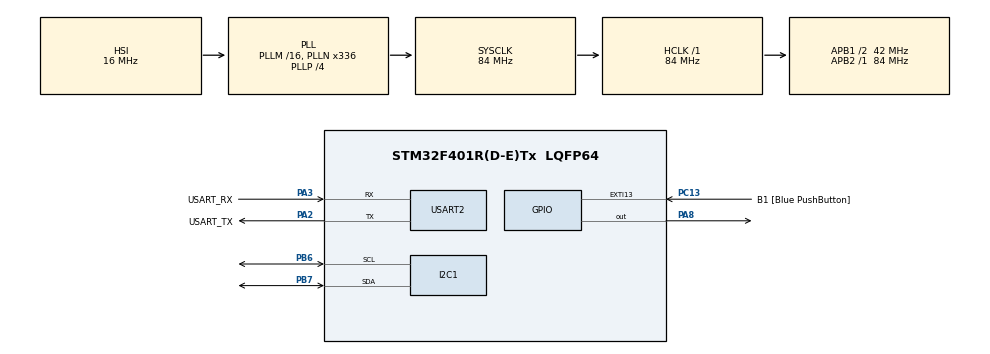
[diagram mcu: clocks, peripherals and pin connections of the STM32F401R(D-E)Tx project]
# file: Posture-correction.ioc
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Mcu.Family=STM32F4
Mcu.Name=STM32F401R(D-E)Tx
Mcu.Package=LQFP64
NVIC.PriorityGroup=NVIC_PRIORITYGROUP_0
PA13.GPIO_Label=TMS
PA13.Mode=Serial_Wire
PA13.Signal=SYS_JTMS-SWDIO
PA14.GPIO_Label=TCK
PA14.Mode=Serial_Wire
PA14.Signal=SYS_JTCK-SWCLK
PA2.GPIO_Label=USART_TX
PA2.GPIO_Mode=GPIO_MODE_AF_PP
PA2.GPIO_PuPd=GPIO_NOPULL
PA2.GPIO_Speed=GPIO_SPEED_FREQ_LOW
PA2.Mode=Asynchronous
PA2.Signal=USART2_TX
PA3.GPIO_Label=USART_RX
PA3.GPIO_Mode=GPIO_MODE_AF_PP
PA3.GPIO_PuPd=GPIO_NOPULL
PA3.GPIO_Speed=GPIO_SPEED_FREQ_LOW
PA3.Mode=Asynchronous
PA3.Signal=USART2_RX
PA8.Signal=GPIO_Output
PB3.GPIO_Label=SWO
PB3.Signal=SYS_JTDO-SWO
PB6.Mode=I2C
PB6.Signal=I2C1_SCL
PB7.Mode=I2C
PB7.Signal=I2C1_SDA
PC13-ANTI_TAMP.GPIO_Label=B1 [Blue PushButton]
PC13-ANTI_TAMP.GPIO_ModeDefaultEXTI=GPIO_MODE_IT_FALLING
PC13-ANTI_TAMP.GPIO_PuPd=GPIO_NOPULL
PC13-ANTI_TAMP.Signal=GPXTI13
PC14-OSC32_IN.Mode=LSE-External-Oscillator
PC14-OSC32_IN.Signal=RCC_OSC32_IN
PC15-OSC32_OUT.Mode=LSE-External-Oscillator
PC15-OSC32_OUT.Signal=RCC_OSC32_OUT
PH0\ -\ OSC_IN.Mode=HSE-External-Clock-Source
PH0\ -\ OSC_IN.Signal=RCC_OSC_IN
PH1\ -\ OSC_OUT.Mode=HSE-External-Clock-Source
PH1\ -\ OSC_OUT.Signal=RCC_OSC_OUT
ProjectManager.HeapSize=0x200
ProjectManager.StackSize=0x400
ProjectManager.TargetToolchain=STM32CubeIDE
RCC.48MHZClocksFreq_Value=48000000
RCC.AHBFreq_Value=84000000
RCC.APB1CLKDivider=RCC_HCLK_DIV2
RCC.APB1Freq_Value=42000000
RCC.APB1TimFreq_Value=84000000
RCC.APB2Freq_Value=84000000
RCC.APB2TimFreq_Value=84000000
RCC.CortexFreq_Value=84000000
RCC.HCLKFreq_Value=84000000
RCC.HSE_VALUE=8000000
RCC.HSI_VALUE=16000000
RCC.PLLN=336
RCC.PLLP=RCC_PLLP_DIV4
RCC.PLLQ=7
RCC.SYSCLKFreq_VALUE=84000000
RCC.SYSCLKSource=RCC_SYSCLKSOURCE_PLLCLK
RCC.VCOOutputFreq_Value=336000000
USART2.VirtualMode=VM_ASYNC
board=NUCLEO-F401RE

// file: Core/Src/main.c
/* USER CODE BEGIN Header */
/**
  ******************************************************************************
  * @file           : main.c
  * @brief          : Main program body
  ******************************************************************************
  * @attention
  *
  * Copyright (c) 2024 STMicroelectronics.
  * All rights reserved.
  *
  * This software is licensed under terms that can be found in the LICENSE file
  * in the root directory of this software component.
  * If no LICENSE file comes with this software, it is provided AS-IS.
  *
  ******************************************************************************
  */
/* USER CODE END Header */
#include "main.h"
#include "MPU6050.h"
#include "stm32f4xx_hal.h"

I2C_HandleTypeDef hi2c1;

UART_HandleTypeDef huart2;

void SystemClock_Config(void);
static void MX_GPIO_Init(void);
static void MX_USART2_UART_Init(void);
static void MX_I2C1_Init(void);

int main(void)
{

  /* MCU Configuration--------------------------------------------------------*/

  /* Reset of all peripherals, Initializes the Flash interface and the Systick. */
  HAL_Init();

  /* Configure the system clock */
  SystemClock_Config();

  /* Initialize all configured peripherals */
  MX_GPIO_Init();
  MX_USART2_UART_Init();
  MX_I2C1_Init();
  /* USER CODE BEGIN 2 */

  MPU6050_init();

      // Initialize the GPIO pin
      __HAL_RCC_GPIOA_CLK_ENABLE(); // Enable GPIOA clock (example for PA pin)

      GPIO_InitTypeDef GPIO_InitStruct = {0};
      GPIO_InitStruct.Pin = GPIO_PIN_8; // Example: PA5
      GPIO_InitStruct.Mode = GPIO_MODE_OUTPUT_PP; // Push-pull output
      GPIO_InitStruct.Pull = GPIO_NOPULL; // No pull-up or pull-down
      GPIO_InitStruct.Speed = GPIO_SPEED_FREQ_LOW; // Speed setting
      HAL_GPIO_Init(GPIOA, &GPIO_InitStruct);

      int counter = 0;
  /* USER CODE END 2 */

  /* Infinite loop */
  while (1)
  {

    /* USER CODE BEGIN 3 */

	  float read_Val = MPU6050_read();

	      if (read_Val > 20.0)
	      {
	          counter++;
	          if (counter >= 50)
	          {
	              HAL_GPIO_WritePin(GPIOA, GPIO_PIN_8, GPIO_PIN_SET); // Set HIGH
	          }
	      }
	      else
	      {
	          counter = 0; // Reset the counter if condition is not met
	          HAL_GPIO_WritePin(GPIOA, GPIO_PIN_8, GPIO_PIN_RESET); // Set LOW
	      }

	      HAL_Delay(100); // Check every second
	      printf("\nCounter: %d \n", counter);
  }
  /* USER CODE END 3 */
}

void SystemClock_Config(void)
{
  RCC_OscInitTypeDef RCC_OscInitStruct = {0};
  RCC_ClkInitTypeDef RCC_ClkInitStruct = {0};

  /** Configure the main internal regulator output voltage
  */
  __HAL_RCC_PWR_CLK_ENABLE();
  __HAL_PWR_VOLTAGESCALING_CONFIG(PWR_REGULATOR_VOLTAGE_SCALE2);

  /** Initializes the RCC Oscillators according to the specified parameters
  * in the RCC_OscInitTypeDef structure.
  */
  RCC_OscInitStruct.OscillatorType = RCC_OSCILLATORTYPE_HSI;
  RCC_OscInitStruct.HSIState = RCC_HSI_ON;
  RCC_OscInitStruct.HSICalibrationValue = RCC_HSICALIBRATION_DEFAULT;
  RCC_OscInitStruct.PLL.PLLState = RCC_PLL_ON;
  RCC_OscInitStruct.PLL.PLLSource = RCC_PLLSOURCE_HSI;
  RCC_OscInitStruct.PLL.PLLM = 16;
  RCC_OscInitStruct.PLL.PLLN = 336;
  RCC_OscInitStruct.PLL.PLLP = RCC_PLLP_DIV4;
  RCC_OscInitStruct.PLL.PLLQ = 7;
  if (HAL_RCC_OscConfig(&RCC_OscInitStruct) != HAL_OK)
  {
    Error_Handler();
  }

  /** Initializes the CPU, AHB and APB buses clocks
  */
  RCC_ClkInitStruct.ClockType = RCC_CLOCKTYPE_HCLK|RCC_CLOCKTYPE_SYSCLK
                              |RCC_CLOCKTYPE_PCLK1|RCC_CLOCKTYPE_PCLK2;
  RCC_ClkInitStruct.SYSCLKSource = RCC_SYSCLKSOURCE_PLLCLK;
  RCC_ClkInitStruct.AHBCLKDivider = RCC_SYSCLK_DIV1;
  RCC_ClkInitStruct.APB1CLKDivider = RCC_HCLK_DIV2;
  RCC_ClkInitStruct.APB2CLKDivider = RCC_HCLK_DIV1;

  if (HAL_RCC_ClockConfig(&RCC_ClkInitStruct, FLASH_LATENCY_2) != HAL_OK)
  {
    Error_Handler();
  }
}

static void MX_I2C1_Init(void)
{

  hi2c1.Instance = I2C1;
  hi2c1.Init.ClockSpeed = 100000;
  hi2c1.Init.DutyCycle = I2C_DUTYCYCLE_2;
  hi2c1.Init.OwnAddress1 = 0;
  hi2c1.Init.AddressingMode = I2C_ADDRESSINGMODE_7BIT;
  hi2c1.Init.DualAddressMode = I2C_DUALADDRESS_DISABLE;
  hi2c1.Init.OwnAddress2 = 0;
  hi2c1.Init.GeneralCallMode = I2C_GENERALCALL_DISABLE;
  hi2c1.Init.NoStretchMode = I2C_NOSTRETCH_DISABLE;
  if (HAL_I2C_Init(&hi2c1) != HAL_OK)
  {
    Error_Handler();
  }

}

static void MX_USART2_UART_Init(void)
{

  huart2.Instance = USART2;
  huart2.Init.BaudRate = 115200;
  huart2.Init.WordLength = UART_WORDLENGTH_8B;
  huart2.Init.StopBits = UART_STOPBITS_1;
  huart2.Init.Parity = UART_PARITY_NONE;
  huart2.Init.Mode = UART_MODE_TX_RX;
  huart2.Init.HwFlowCtl = UART_HWCONTROL_NONE;
  huart2.Init.OverSampling = UART_OVERSAMPLING_16;
  if (HAL_UART_Init(&huart2) != HAL_OK)
  {
    Error_Handler();
  }

}

static void MX_GPIO_Init(void)
{
  GPIO_InitTypeDef GPIO_InitStruct = {0};

  /* GPIO Ports Clock Enable */
  __HAL_RCC_GPIOC_CLK_ENABLE();
  __HAL_RCC_GPIOH_CLK_ENABLE();
  __HAL_RCC_GPIOA_CLK_ENABLE();
  __HAL_RCC_GPIOB_CLK_ENABLE();

  /*Configure GPIO pin Output Level */
  HAL_GPIO_WritePin(GPIOA, GPIO_PIN_8, GPIO_PIN_RESET);

  /*Configure GPIO pin : B1_Pin */
  GPIO_InitStruct.Pin = B1_Pin;
  GPIO_InitStruct.Mode = GPIO_MODE_IT_FALLING;
  GPIO_InitStruct.Pull = GPIO_NOPULL;
  HAL_GPIO_Init(B1_GPIO_Port, &GPIO_InitStruct);

  /*Configure GPIO pin : PA8 */
  GPIO_InitStruct.Pin = GPIO_PIN_8;
  GPIO_InitStruct.Mode = GPIO_MODE_OUTPUT_PP;
  GPIO_InitStruct.Pull = GPIO_NOPULL;
  GPIO_InitStruct.Speed = GPIO_SPEED_FREQ_LOW;
  HAL_GPIO_Init(GPIOA, &GPIO_InitStruct);

}

/* USER CODE BEGIN 4 */

int _write(int file, char *ptr, int len)
{
  (void)file;
  int DataIdx;

  for (DataIdx = 0; DataIdx < len; DataIdx++)
  {

    ITM_SendChar(*ptr++);
  }
  return len;
}

/* USER CODE END 4 */

void Error_Handler(void)
{
  __disable_irq();
  while (1)
  {
  }
}
